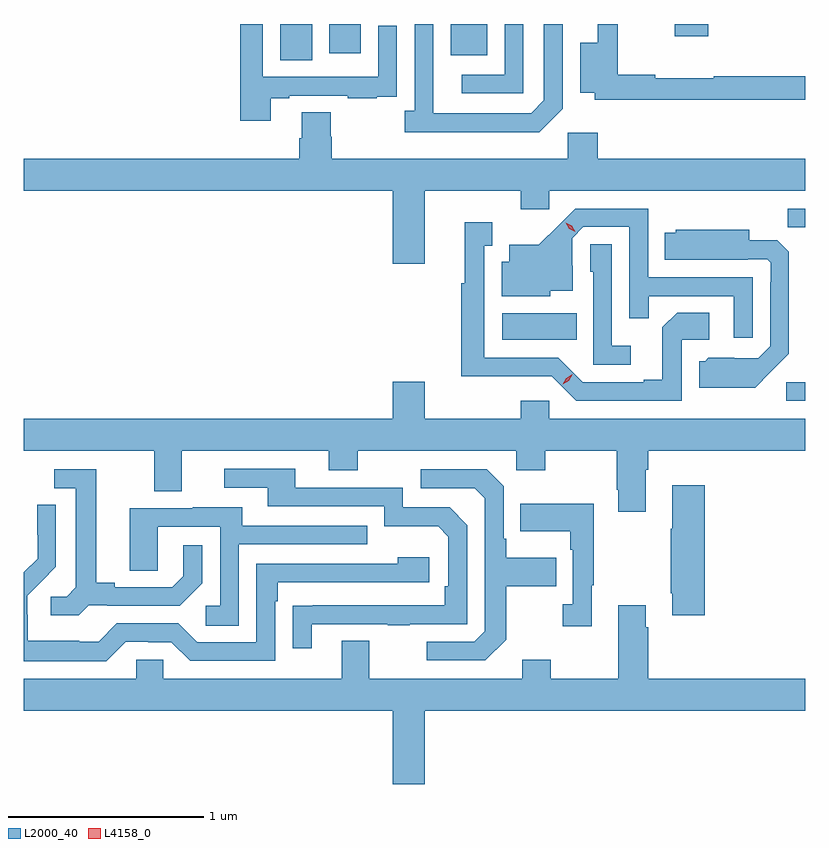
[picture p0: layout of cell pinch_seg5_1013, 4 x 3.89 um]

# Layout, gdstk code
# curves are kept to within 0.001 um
import gdstk
lib = gdstk.Library(unit=1e-6, precision=1e-09)
def R(c, l, rs):  # rectangles x0, y0, x1, y1
    for r in rs: c.add(gdstk.rectangle(r[:2], r[2:], *l))
def P(c, l, *ps):  # polygons
    for p in ps: c.add(gdstk.Polygon(p, *l))
L2000_40 = (2000, 40)
L4158_0 = (4158, 0)

pinch_seg5_1013 = lib.new_cell('pinch_seg5_1013')
R(pinch_seg5_1013, L2000_40, [(730.461,843.696,730.556,843.792), (729.006,844.01,729.386,844.144), (730.468,844.585,730.556,844.68), (727.868,845.44,728.032,845.626), (728.741,845.465,728.929,845.626), (728.12,845.475,728.281,845.626), (729.89,845.562,730.061,845.626)])
P(pinch_seg5_1013, L2000_40, [(730.556,845.359),(730.088,845.359),(730.088,845.348),(729.788,845.348),(729.788,845.366),(729.596,845.366),(729.596,845.626),(729.494,845.626),(729.494,845.53),(729.404,845.53),(729.404,845.273),(729.48,845.273),(729.48,845.238),(730.556,845.238)],
  [(729.315,845.193),(729.315,845.626),(729.219,845.626),(729.219,845.235),(729.153,845.169),(728.653,845.169),(728.652,845.626),(728.556,845.626),(728.556,845.182),(728.505,845.182),(728.505,845.072),(729.194,845.072)],
  [(729.114,845.626),(729.018,845.626),(729.018,845.367),(728.799,845.367),(728.799,845.271),(729.114,845.271)],
  [(727.819,845.247),(727.915,845.247),(727.915,845.259),(728.215,845.259),(728.215,845.247),(728.363,845.247),(728.363,845.253),(728.465,845.253),(728.465,845.362),(728.466,845.362),(728.466,845.617),(728.37,845.617),(728.37,845.355),(727.779,845.355),(727.779,845.626),(727.663,845.626),(727.663,845.13),(727.819,845.13)],
  [(728.444,844.398),(728.608,844.398),(728.608,844.772),(729.1,844.772),(729.1,844.677),(729.246,844.677),(729.246,844.772),(730.556,844.772),(730.556,844.936),(729.494,844.936),(729.494,845.068),(729.342,845.068),(729.342,844.936),(728.132,844.936),(728.132,845.049),(728.127,845.049),(728.127,845.174),(727.979,845.174),(727.979,845.042),(727.967,845.042),(727.967,844.936),(726.556,844.936),(726.556,844.772),(728.444,844.772)],
  [(730.287,844.329),(729.753,844.329),(729.753,844.68),(729.38,844.68),(729.193,844.495),(729.041,844.495),(729.041,844.408),(729.002,844.408),(729.002,844.232),(729.252,844.232),(729.252,844.259),(729.367,844.259),(729.367,844.388),(729.363,844.388),(729.363,844.53),(729.42,844.587),(729.657,844.587),(729.657,844.12),(729.755,844.12),(729.755,844.233),(730.191,844.233),(730.191,844.02),(730.287,844.02)],
  [(729.924,844.008),(730.066,844.008),(730.066,844.148),(729.901,844.148),(729.825,844.072),(729.825,843.805),(729.731,843.805),(729.731,843.792),(729.417,843.792),(729.291,843.918),(728.914,843.918),(728.914,844.491),(728.953,844.491),(728.953,844.612),(728.813,844.612),(728.813,844.299),(728.796,844.299),(728.796,843.821),(729.258,843.822),(729.384,843.696),(729.924,843.696)],
  [(730.381,843.845),(730.473,843.938),(730.473,844.46),(730.414,844.519),(730.27,844.519),(730.27,844.573),(729.894,844.573),(729.894,844.558),(729.838,844.558),(729.838,844.418),(730.262,844.418),(730.262,844.422),(730.362,844.422),(730.38,844.404),(730.38,844.304),(730.377,844.304),(730.377,843.975),(730.317,843.915),(730.06,843.916),(730.044,843.9),(730.013,843.9),(730.013,843.764),(730.301,843.764)],
  [(729.664,843.979),(729.567,843.979),(729.567,844.499),(729.456,844.499),(729.456,844.356),(729.471,844.356),(729.471,843.882),(729.664,843.882)],
  [(729.246,843.697),(729.1,843.697),(729.1,843.604),(728.608,843.604),(728.608,843.793),(728.444,843.793),(728.444,843.604),(726.556,843.604),(726.556,843.44),(727.223,843.44),(727.223,843.232),(727.363,843.232),(727.363,843.44),(728.117,843.44),(728.117,843.341),(728.265,843.341),(728.265,843.44),(729.078,843.44),(729.078,843.341),(729.225,843.341),(729.225,843.44),(729.592,843.44),(729.592,843.241),(729.599,843.241),(729.599,843.129),(729.739,843.129),(729.739,843.344),(729.752,843.344),(729.752,843.44),(730.556,843.44),(730.556,843.604),(729.246,843.604)],
  [(728.029,842.553),(728.419,842.553),(728.419,842.548),(728.531,842.548),(728.531,842.553),(728.826,842.553),(728.826,843.06),(728.736,843.15),(728.496,843.15),(728.496,843.252),(727.945,843.252),(727.945,843.348),(727.581,843.348),(727.581,843.252),(727.805,843.252),(727.805,843.156),(728.4,843.156),(728.4,843.053),(728.677,843.053),(728.73,843),(728.73,842.746),(728.71,842.746),(728.71,842.649),(727.933,842.648),(727.933,842.43),(728.029,842.43)],
  [(726.888,842.649),(726.982,842.649),(726.982,842.646),(727.354,842.646),(727.47,842.762),(727.47,842.956),(727.373,842.956),(727.373,842.799),(727.316,842.742),(727.021,842.742),(727.021,842.765),(726.925,842.765),(726.925,843.345),(726.711,843.345),(726.711,843.249),(726.821,843.249),(726.821,842.741),(726.774,842.694),(726.693,842.694),(726.693,842.597),(726.836,842.597)],
  [(729.025,842.473),(729.025,842.746),(729.281,842.746),(729.281,842.893),(729.025,842.893),(729.025,842.989),(729.012,842.989),(729.012,843.258),(728.925,843.345),(728.589,843.345),(728.589,843.249),(728.865,843.249),(728.916,843.198),(728.916,842.517),(728.862,842.463),(728.619,842.463),(728.619,842.367),(728.919,842.367)],
  [(730.043,843.265),(729.875,843.265),(729.875,843.041),(729.868,843.041),(729.868,842.71),(729.875,842.71),(729.875,842.598),(730.043,842.598)],
  [(729.463,842.753),(729.475,842.753),(729.475,843.169),(729.097,843.169),(729.097,843.029),(729.354,843.029),(729.354,842.933),(729.366,842.933),(729.366,842.654),(729.315,842.654),(729.315,842.541),(729.463,842.541)],
  [(727.077,842.463),(727.193,842.463),(727.193,842.46),(727.311,842.46),(727.407,842.364),(727.842,842.364),(727.842,842.669),(727.855,842.669),(727.855,842.766),(728.632,842.766),(728.632,842.896),(728.471,842.896),(728.471,842.862),(727.746,842.862),(727.746,842.46),(727.443,842.46),(727.347,842.556),(727.032,842.556),(726.939,842.463),(726.839,842.463),(726.839,842.467),(726.576,842.467),(726.576,842.601),(726.574,842.601),(726.574,842.698),(726.72,842.846),(726.72,843.164),(726.624,843.164),(726.624,843.01),(726.626,843.01),(726.626,842.888),(726.556,842.818),(726.556,842.363),(726.977,842.363)],
  [(727.656,842.961),(728.315,842.961),(728.315,843.057),(727.675,843.057),(727.675,843.151),(727.421,843.151),(727.421,843.147),(727.097,843.147),(727.097,842.827),(727.242,842.827),(727.242,843.051),(727.56,843.051),(727.56,842.646),(727.488,842.646),(727.488,842.545),(727.656,842.545)],
  [(728.608,842.108),(730.556,842.108),(730.556,842.272),(729.752,842.272),(729.752,842.537),(729.739,842.537),(729.739,842.65),(729.599,842.65),(729.599,842.272),(729.255,842.272),(729.255,842.371),(729.107,842.371),(729.107,842.272),(728.323,842.272),(728.323,842.467),(728.183,842.467),(728.183,842.272),(727.269,842.272),(727.269,842.37),(727.131,842.37),(727.131,842.272),(726.556,842.272),(726.556,842.108),(728.444,842.108),(728.444,841.734),(728.608,841.734)])
P(pinch_seg5_1013, L4158_0, [(729.378,844.562),(729.348,844.578),(729.331,844.607),(729.331,844.607),(729.331,844.607),(729.362,844.592),(729.378,844.562),(729.378,844.562)],
  [(729.315,843.78),(729.315,843.78),(729.332,843.813),(729.363,843.832),(729.364,843.832),(729.364,843.831),(729.346,843.799),(729.315,843.78)])

lib.write_gds('pinch_seg5_1013.gds')
